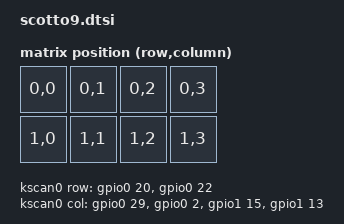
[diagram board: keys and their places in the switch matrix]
// scotto9.dtsi - Scotto9 shield for nice!nano v2
#include <dt-bindings/zmk/matrix_transform.h>

/ {
    chosen {
        zmk,kscan = &kscan0;
        zmk,matrix-transform = &default_transform;
    };

    default_transform: keymap_transform_0 {
        compatible = "zmk,matrix-transform";
        columns = <4>;
        rows = <2>;
        /* 4x2 matrix, keymap is:
         *
         * ┌───┬───┬───┬───┐
         * │ 1 │ 2 │ 3 │ 4 │  ← Row 0 (top)
         * ├───┼───┼───┼───┤
         * │ 5 │ 6 │ 7 │ 8 │  ← Row 1 (bottom)
         * └───┴───┴───┴───┘
         *
         * Matrix wiring:
         *   Columns (left→right): 029, 002, 115, 113
         *   Rows    (top→bottom): 020, 022
         */
        map = <
            RC(0,0) RC(0,1) RC(0,2) RC(0,3)
            RC(1,0) RC(1,1) RC(1,2) RC(1,3)
        >;
    };

    kscan0: kscan {
        compatible = "zmk,kscan-gpio-matrix";
        label = "KSCAN";
        
        diode-direction = "col2row";

        // Columns (left → right):
        // 029 (P0.29), 002 (P0.02), 115 (P1.15), 113 (P1.13)
        col-gpios
            = <&gpio0 29 GPIO_ACTIVE_HIGH>   // Pin labeled 029 - Column 0 (left)
            , <&gpio0 2  GPIO_ACTIVE_HIGH>   // Pin labeled 002 - Column 1
            , <&gpio1 15 GPIO_ACTIVE_HIGH>   // Pin labeled 115 - Column 2
            , <&gpio1 13 GPIO_ACTIVE_HIGH>   // Pin labeled 113 - Column 3 (right)
            ;

        // Rows (top → bottom):
        // 020 (P0.20), 022 (P0.22)
        row-gpios
            = <&gpio0 20 (GPIO_ACTIVE_HIGH | GPIO_PULL_DOWN)>   // Pin labeled 020 - Top row
            , <&gpio0 22 (GPIO_ACTIVE_HIGH | GPIO_PULL_DOWN)>   // Pin labeled 022 - Bottom row
            ;
    };
};
